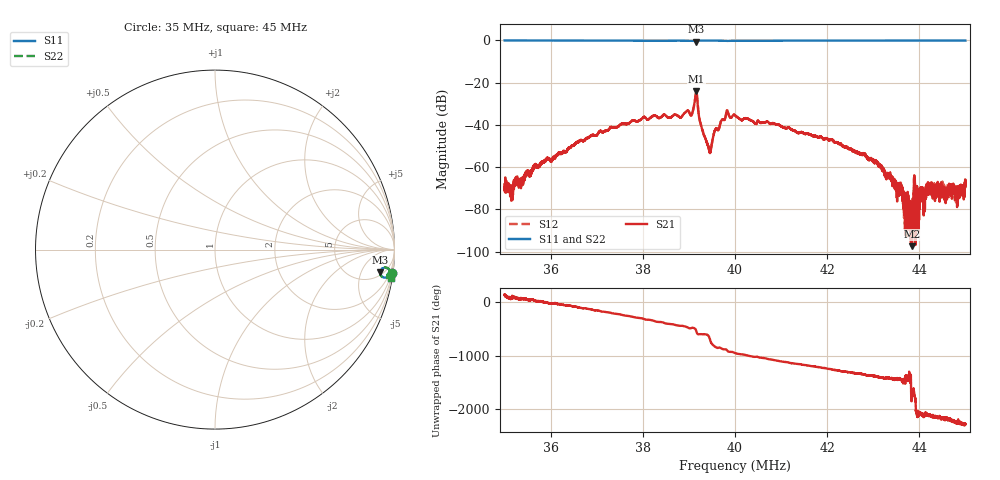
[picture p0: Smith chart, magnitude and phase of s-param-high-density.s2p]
!  23/08/2022  4:55:09 PM
! Ref Plane: 0.000 mm
# MHZ S MA R  50
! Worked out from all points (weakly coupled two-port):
!   8001 points, 35 MHz to 45 MHz, reference 50 ohm
!   highest |S21| = -23.95 dB at 39.16 MHz (marker M1); lowest = -97.4 dB at 43.83 MHz (marker M2)
!   lowest |S11| = -0.6 dB at 39.16 MHz (marker M3), VSWR 26.74, Z = 315 - j566 ohm
!   |S11| at or under -10 dB: nowhere
!   |S22| runs from -0.7 to 0.0 dB; largest |S21 - S12| = 0.00067
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35  0.9943 -7.5  0.0003187 147.3  0.0004124 140.1  0.9953 -7.6
35.155  0.9952 -7.6  0.0002987 90.8  0.0002474 95.2  0.996 -7.7
35.6588  0.9935 -7.8  0.001141 31.4  0.001103 32.7  0.9946 -7.9
36.6675  0.9894 -8.2  0.004339 -105.2  0.00435 -105.1  0.9906 -8.2
38.3338  0.9774 -8.1  0.01465 -6.9  0.01459 -6.2  0.9789 -8.2
39.0438  0.9777 -8.4  0.01644 -124.4  0.01649 -123.5  0.9786 -8.4
39.1613  0.9279 -7.7  0.06344 176.4  0.06349 176.9  0.9272 -7.8
39.27  0.9868 -7.4  0.009179 123.2  0.009197 123.6  0.9879 -7.4
39.4425  0.9876 -8.1  0.002492 62.1  0.002502 61.6  0.9896 -8.1
39.8075  0.9753 -8.7  0.01854 -163.7  0.01846 -163.1  0.9762 -8.8
40  0.9771 -8.0  0.01687 127.9  0.01697 128.5  0.9793 -8.0
41.6675  0.9846 -8.1  0.005669 -118.5  0.005608 -118.2  0.9861 -8.1
42.7988  0.9889 -8.3  0.002116 86.5  0.002032 87.0  0.9906 -8.4
43.3338  0.9903 -8.5  0.0006301 18.6  0.0006819 21.2  0.9918 -8.5
43.5875  0.9916 -8.6  0.0002712 -6.2  0.0002953 3.2  0.9928 -8.6
43.685  0.9916 -8.6  8.962e-05 -21.7  3.406e-05 19.6  0.9927 -8.7
43.8338  0.992 -8.7  1.344e-05 67.2  0.0001401 77.6  0.993 -8.7
43.925  0.9909 -8.7  0.0001512 159.9  0.0001367 132.5  0.9922 -8.8
43.965  0.9917 -8.7  0.0002077 7.7  0.0001372 47.7  0.9927 -8.7
44.22  0.9921 -8.8  0.0002633 51.2  0.0003143 44.4  0.9934 -8.8
44.8175  0.9922 -9.0  0.0002952 -96.7  0.0002018 -80.2  0.9935 -9.1
45  0.9911 -9.2  0.0004679 -123.3  0.0005272 -130.8  0.9921 -9.2
